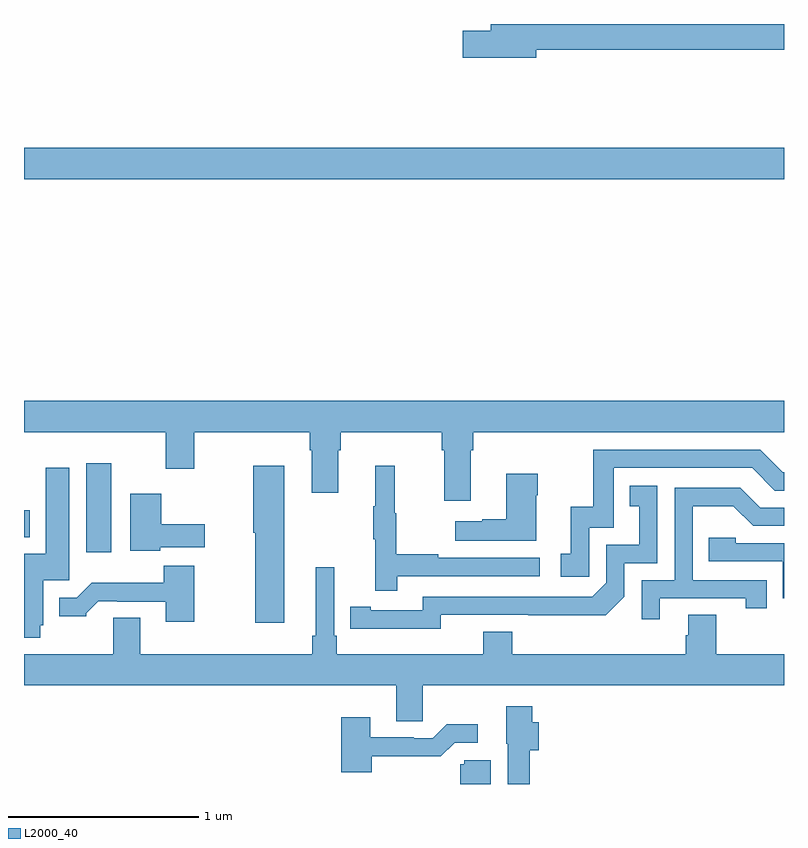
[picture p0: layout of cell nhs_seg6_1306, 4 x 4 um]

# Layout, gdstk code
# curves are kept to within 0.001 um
import gdstk
lib = gdstk.Library(unit=1e-6, precision=1e-09)
def R(c, l, rs):  # rectangles x0, y0, x1, y1
    for r in rs: c.add(gdstk.rectangle(r[:2], r[2:], *l))
def P(c, l, *ps):  # polygons
    for p in ps: c.add(gdstk.Polygon(p, *l))
L2000_40 = (2000, 40)

nhs_seg6_1306 = lib.new_cell('nhs_seg6_1306')
R(nhs_seg6_1306, L2000_40, [(191.327,930.72,191.458,931.189), (191,930.8,191.029,930.94), (191,932.684,195,932.848)])
P(nhs_seg6_1306, L2000_40, [(193.696,933.364),(195,933.364),(195,933.5),(193.457,933.5),(193.457,933.464),(193.308,933.464),(193.308,933.322),(193.696,933.322)],
  [(191,931.352),(191.747,931.352),(191.747,931.158),(191.895,931.158),(191.895,931.352),(192.503,931.352),(192.503,931.256),(192.515,931.256),(192.515,931.032),(192.655,931.032),(192.655,931.256),(192.668,931.256),(192.668,931.352),(193.199,931.352),(193.199,931.256),(193.211,931.256),(193.211,930.99),(193.351,930.99),(193.351,931.256),(193.364,931.256),(193.364,931.352),(195,931.352),(195,931.516),(191,931.516)],
  [(193.974,930.849),(194.103,930.849),(194.103,931.164),(194.832,931.164),(194.952,931.044),(195,931.044),(195,931.14),(194.994,931.14),(194.874,931.26),(193.995,931.26),(193.995,930.958),(193.877,930.958),(193.877,930.711),(193.824,930.711),(193.824,930.591),(193.974,930.591)],
  [(192.965,930.594),(193.714,930.594),(193.714,930.69),(193.181,930.69),(193.181,930.71),(192.958,930.71),(192.958,930.924),(192.95,930.924),(192.95,931.174),(192.848,931.174),(192.848,930.961),(192.837,930.961),(192.837,930.787),(192.848,930.787),(192.848,930.516),(192.965,930.516)],
  [(192.37,931.174),(192.206,931.174),(192.206,930.822),(192.217,930.822),(192.217,930.348),(192.37,930.348)],
  [(191.085,930.336),(191.101,930.336),(191.101,930.573),(191.239,930.573),(191.239,931.165),(191.114,931.165),(191.114,930.712),(191,930.712),(191,930.27),(191.085,930.27)],
  [(193.696,931.019),(193.704,931.019),(193.704,931.132),(193.538,931.132),(193.538,930.893),(193.412,930.893),(193.412,930.883),(193.269,930.883),(193.269,930.779),(193.696,930.779)],
  [(193.194,930.39),(194.062,930.389),(194.16,930.486),(194.16,930.663),(194.334,930.663),(194.334,931.069),(194.188,931.069),(194.188,930.963),(194.237,930.963),(194.237,930.759),(194.064,930.759),(194.064,930.558),(193.992,930.486),(193.098,930.486),(193.098,930.414),(192.826,930.414),(192.826,930.434),(192.718,930.434),(192.718,930.318),(193.194,930.317)],
  [(194.347,930.477),(194.798,930.477),(194.798,930.426),(194.909,930.426),(194.909,930.573),(194.52,930.573),(194.52,930.962),(194.734,930.962),(194.838,930.858),(195,930.858),(195,930.954),(194.875,930.954),(194.77,931.059),(194.424,931.059),(194.424,930.573),(194.25,930.573),(194.25,930.366),(194.347,930.366)],
  [(191.718,930.746),(191.95,930.746),(191.95,930.868),(191.722,930.868),(191.722,931.027),(191.558,931.027),(191.558,930.728),(191.718,930.728)],
  [(195,930.768),(194.745,930.768),(194.745,930.795),(194.605,930.795),(194.605,930.672),(194.994,930.672),(194.994,930.477),(195,930.477)],
  [(191.895,930.649),(191.735,930.649),(191.735,930.559),(191.356,930.559),(191.277,930.48),(191.186,930.48),(191.186,930.383),(191.328,930.383),(191.328,930.398),(191.392,930.462),(191.491,930.462),(191.491,930.459),(191.747,930.459),(191.747,930.354),(191.895,930.354)],
  [(193.098,930.02),(195,930.02),(195,930.184),(194.643,930.184),(194.643,930.392),(194.495,930.392),(194.495,930.282),(194.483,930.282),(194.483,930.184),(193.571,930.184),(193.571,930.301),(193.418,930.301),(193.418,930.184),(192.647,930.184),(192.647,930.28),(192.633,930.28),(192.633,930.64),(192.536,930.64),(192.536,930.28),(192.517,930.28),(192.517,930.184),(191.611,930.184),(191.611,930.374),(191.471,930.374),(191.471,930.184),(191,930.184),(191,930.02),(192.959,930.02),(192.959,929.83),(193.098,929.83)],
  [(193.661,929.678),(193.709,929.678),(193.709,929.826),(193.674,929.826),(193.674,929.908),(193.538,929.908),(193.538,929.712),(193.545,929.712),(193.545,929.5),(193.661,929.5)],
  [(192.831,929.646),(193.193,929.645),(193.266,929.718),(193.387,929.718),(193.387,929.815),(193.225,929.815),(193.152,929.742),(193.052,929.742),(193.052,929.745),(192.823,929.745),(192.823,929.851),(192.671,929.851),(192.671,929.561),(192.831,929.561)],
  [(193.456,929.625),(193.317,929.625),(193.317,929.604),(193.295,929.604),(193.295,929.5),(193.456,929.5)])

lib.write_gds('nhs_seg6_1306.gds')
